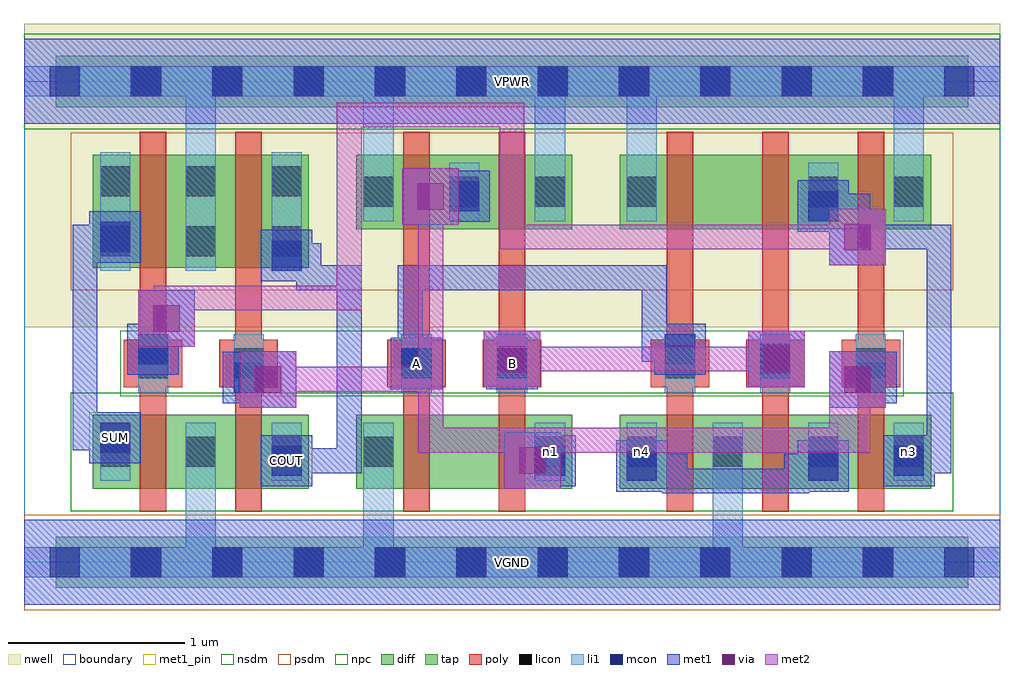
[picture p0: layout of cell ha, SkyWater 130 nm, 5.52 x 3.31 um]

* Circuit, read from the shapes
.subckt ha A B COUT SUM VGND VPWR n1 n3 n4
XM1 VGND n3 SUM VGND sky130_fd_pr__nfet_01v8 w=0.42 l=0.15
XM2 COUT n1 VGND VGND sky130_fd_pr__nfet_01v8 w=0.42 l=0.15
XM3 n2 A VGND VGND sky130_fd_pr__nfet_01v8 w=0.42 l=0.15
XM4 n1 B n2 VGND sky130_fd_pr__nfet_01v8 w=0.42 l=0.15
XM5 VGND A n4 VGND sky130_fd_pr__nfet_01v8 w=0.42 l=0.15
XM6 n4 B VGND VGND sky130_fd_pr__nfet_01v8 w=0.42 l=0.15
XM7 n3 n1 n4 VGND sky130_fd_pr__nfet_01v8 w=0.42 l=0.15
XM8 VPWR n3 SUM VPWR sky130_fd_pr__pfet_01v8 w=0.64 l=0.15
XM9 COUT n1 VPWR VPWR sky130_fd_pr__pfet_01v8 w=0.64 l=0.15
XM10 n1 A VPWR VPWR sky130_fd_pr__pfet_01v8 w=0.42 l=0.15
XM11 VPWR B n1 VPWR sky130_fd_pr__pfet_01v8 w=0.42 l=0.15
XM12 n5 A VPWR VPWR sky130_fd_pr__pfet_01v8 w=0.42 l=0.15
XM13 n3 B n5 VPWR sky130_fd_pr__pfet_01v8 w=0.42 l=0.15
XM14 VPWR n1 n3 VPWR sky130_fd_pr__pfet_01v8 w=0.42 l=0.15
.ends

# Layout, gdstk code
import gdstk
lib = gdstk.Library(unit=1e-6, precision=1e-09)
def R(c, l, rs):  # rectangles x0, y0, x1, y1
    for r in rs: c.add(gdstk.rectangle(r[:2], r[2:], *l))
def A(c, l, x, y, w, h, nx, ny, dx, dy):  # array of equal rectangles
    R(c, l, [(x+i*dx, y+j*dy, x+i*dx+w, y+j*dy+h) for i in range(nx) for j in range(ny)])
nwell = (64, 20)
diff = (65, 20)
tap = (65, 44)
poly = (66, 20)
licon = (66, 44)
li1 = (67, 20)
mcon = (67, 44)
met1_pin = (68, 16)
met1 = (68, 20)
via = (68, 44)
met2 = (69, 20)
nsdm = (93, 44)
psdm = (94, 20)
npc = (95, 20)
boundary = (235, 4)

c_ha = lib.new_cell('ha')
R(c_ha, nwell, [(0,1.33,5.52,3.045)])
R(c_ha, diff, [(0.39,0.415,1.61,0.835), (1.88,0.415,3.1,0.835), (3.37,0.415,5.13,0.835), (0.39,1.665,1.61,2.305), (1.88,1.885,3.1,2.305), (3.37,1.885,5.13,2.305)])
R(c_ha, tap, [(0.18,-0.145,5.34,0.145), (0.18,2.575,5.34,2.865)])
A(c_ha, poly, 3.635, 0.285, 0.15, 2.15, 3, 1, 0.54, 0)
A(c_ha, poly, 3.545, 0.99, 0.33, 0.27, 3, 1, 0.54, 0)
R(c_ha, poly, [(0.655,0.285,0.805,2.435), (1.195,0.285,1.345,2.435), (2.145,0.285,2.295,2.435), (2.685,0.285,2.835,2.435), (0.565,0.99,0.895,1.26), (1.105,0.99,1.435,1.26), (2.055,0.99,2.385,1.26), (2.595,0.99,2.925,1.26)])
A(c_ha, licon, 0.605, -0.085, 0.17, 0.17, 10, 2, 0.46, 2.72)
A(c_ha, licon, 0.43, 0.54, 0.17, 0.17, 3, 2, 0.485, 1.19)
A(c_ha, licon, 3.625, 1.04, 0.17, 0.17, 3, 1, 0.54, 0)
A(c_ha, licon, 1.92, 2.01, 0.17, 0.17, 3, 1, 0.485, 0)
A(c_ha, licon, 0.43, 2.07, 0.17, 0.17, 3, 1, 0.485, 0)
R(c_ha, licon, [(1.92,0.54,2.09,0.71), (2.89,0.54,3.06,0.71), (3.41,0.54,3.58,0.71), (3.895,0.54,4.065,0.71), (4.435,0.54,4.605,0.71), (4.92,0.54,5.09,0.71), (0.645,1.04,0.815,1.21), (1.185,1.04,1.355,1.21), (2.135,1.04,2.305,1.21), (2.675,1.04,2.845,1.21), (3.41,2.01,3.58,2.18), (4.435,2.01,4.605,2.18), (4.92,2.01,5.09,2.18)])
A(c_ha, li1, 0.43, 0.46, 0.17, 0.33, 3, 1, 0.485, 0)
A(c_ha, li1, 3.625, 0.96, 0.17, 0.33, 3, 1, 0.54, 0)
A(c_ha, li1, 0.43, 1.65, 0.17, 0.67, 3, 1, 0.485, 0)
A(c_ha, li1, 1.92, 1.93, 0.17, 0.33, 3, 1, 0.485, 0)
R(c_ha, li1, [(0,-0.085,5.52,0.085), (0.915,-0.085,1.085,0.79), (1.92,-0.085,2.09,0.79), (3.895,-0.085,4.065,0.79), (1.92,0.46,2.09,0.79), (2.89,0.46,3.06,0.79), (3.41,0.46,3.58,0.79), (3.895,0.46,4.065,0.79), (4.435,0.46,4.605,0.79), (4.92,0.46,5.09,0.79), (0.645,0.96,0.815,1.29), (1.185,0.96,1.355,1.29), (2.135,0.96,2.305,1.29), (2.675,0.96,2.845,1.29), (0.915,1.65,1.085,2.805), (1.92,1.93,2.09,2.805), (2.89,1.93,3.06,2.805), (3.41,1.93,3.58,2.26), (3.41,1.93,3.58,2.805), (4.435,1.93,4.605,2.26), (4.92,1.93,5.09,2.26), (4.92,1.93,5.09,2.805), (0,2.635,5.52,2.805)])
A(c_ha, mcon, 0.145, -0.085, 0.17, 0.17, 12, 2, 0.46, 2.72)
R(c_ha, mcon, [(3.41,0.46,3.58,0.63), (4.435,0.46,4.605,0.63), (1.4,0.49,1.57,0.66), (2.89,0.49,3.06,0.66), (4.92,0.49,5.09,0.66), (0.43,0.62,0.6,0.79), (1.185,0.96,1.355,1.13), (4.705,0.96,4.875,1.13), (2.135,1.04,2.305,1.21), (2.675,1.04,2.845,1.21), (4.165,1.065,4.335,1.235), (0.645,1.12,0.815,1.29), (3.625,1.12,3.795,1.29), (1.4,1.65,1.57,1.82), (0.43,1.755,0.6,1.925), (4.435,1.93,4.605,2.1), (2.405,1.985,2.575,2.155)])
R(c_ha, met1_pin, [(0,-0.24,5.52,0.24), (1.34,0.43,1.63,0.72), (0.37,0.56,0.66,0.85), (2.075,0.98,2.365,1.27), (2.615,0.98,2.905,1.27), (0,2.48,5.52,2.96)])
R(c_ha, met1, [(0,-0.24,5.52,0.24), (3.61,0.39,3.75,0.615), (3.61,0.39,4.44,0.53), (4.3,0.39,4.44,0.615), (3.35,0.4,3.64,0.69), (4.375,0.4,4.665,0.69), (2.715,0.415,3.035,0.735), (1.34,0.43,1.63,0.72), (2.83,0.43,3.12,0.72), (4.86,0.43,5.15,0.72), (3.425,0.475,3.75,0.615), (4.3,0.475,4.59,0.615), (1.415,0.505,1.68,0.645), (1.54,0.505,1.91,0.645), (1.77,0.505,1.91,1.68), (2.805,0.505,3.045,0.645), (4.935,0.505,5.245,0.645), (5.105,0.505,5.245,1.91), (0.37,0.56,0.66,0.85), (0.275,0.635,0.585,0.775), (0.275,0.635,0.415,0.875), (0.275,0.735,0.415,1.91), (1.22,0.875,1.54,1.195), (4.555,0.875,4.875,1.195), (1.125,0.9,1.415,1.19), (4.645,0.9,4.935,1.19), (1.31,0.965,1.45,1.115), (4.645,0.965,4.785,1.115), (1.2,0.975,1.45,1.115), (4.645,0.975,4.86,1.115), (2.075,0.98,2.365,1.27), (2.615,0.98,2.905,1.27), (2.6,0.99,2.92,1.31), (4.095,0.99,4.415,1.31), (4.105,1.005,4.395,1.295), (0.585,1.06,0.875,1.35), (3.565,1.06,3.855,1.35), (2.115,1.08,2.255,1.22), (2.115,1.08,2.255,1.68), (2.69,1.08,2.83,1.22), (4.18,1.08,4.325,1.22), (0.66,1.135,0.875,1.275), (0.735,1.135,0.875,1.45), (3.495,1.135,3.78,1.275), (3.495,1.135,3.635,1.45), (0.645,1.22,0.965,1.54), (3.495,1.31,3.635,1.68), (1.54,1.54,1.68,1.805), (1.54,1.54,1.91,1.68), (2.115,1.54,3.635,1.68), (1.34,1.59,1.63,1.88), (1.415,1.665,1.68,1.805), (4.555,1.68,4.875,2), (0.37,1.695,0.66,1.985), (0.275,1.77,0.585,1.91), (4.645,1.77,4.785,2.085), (4.645,1.77,5.245,1.91), (4.375,1.87,4.665,2.16), (2.14,1.91,2.46,2.23), (2.345,1.925,2.635,2.215), (4.45,1.945,4.785,2.085), (2.23,2,2.56,2.14), (0,2.48,5.52,2.96)])
R(c_ha, via, [(2.8,0.5,2.95,0.65), (1.305,0.96,1.455,1.11), (4.64,0.96,4.79,1.11), (2.685,1.075,2.835,1.225), (4.18,1.075,4.33,1.225), (0.73,1.305,0.88,1.455), (4.64,1.765,4.79,1.915), (2.225,1.995,2.375,2.145)])
R(c_ha, met2, [(2.715,0.415,3.035,0.735), (2.805,0.505,2.945,0.76), (2.23,0.62,2.945,0.76), (2.23,0.62,2.37,2.14), (2.805,0.62,4.785,0.76), (4.645,0.62,4.785,1.105), (4.555,0.76,4.785,0.875), (1.22,0.875,1.54,1.195), (4.555,0.875,4.875,1.195), (1.31,0.965,2.37,1.105), (2.6,0.99,2.92,1.31), (4.095,0.99,4.415,1.31), (2.69,1.08,4.325,1.22), (0.645,1.22,0.965,1.54), (0.735,1.31,0.875,1.565), (0.735,1.425,1.91,1.565), (1.77,1.425,1.91,2.6), (4.555,1.68,4.875,2), (2.69,1.77,4.785,1.91), (2.69,1.77,2.83,2.6), (2.14,1.91,2.46,2.23), (1.77,2.46,2.83,2.6)])
R(c_ha, nsdm, [(0.265,0.29,5.255,0.96), (0,2.45,5.52,2.99)])
R(c_ha, psdm, [(0,-0.27,5.52,0.27), (0.265,1.54,5.255,2.43)])
R(c_ha, npc, [(0.545,0.94,4.975,1.31)])
R(c_ha, boundary, [(0,0,5.52,2.72)])
c_ha.add(gdstk.Label('n1', (2.975,0.625), layer=67, texttype=5))
c_ha.add(gdstk.Label('n4', (3.495,0.625), layer=67, texttype=5))
c_ha.add(gdstk.Label('n3', (5.005,0.625), layer=67, texttype=5))
c_ha.add(gdstk.Label('A', (2.22,1.125), layer=68, texttype=5))
c_ha.add(gdstk.Label('B', (2.76,1.125), layer=68, texttype=5))
c_ha.add(gdstk.Label('SUM', (0.515,0.705), layer=68, texttype=5))
c_ha.add(gdstk.Label('COUT', (1.485,0.575), layer=68, texttype=5))
c_ha.add(gdstk.Label('VPWR', (2.76,2.72), layer=68, texttype=5))
c_ha.add(gdstk.Label('VGND', (2.76,0), layer=68, texttype=5))
c_ha.add(gdstk.Label('A', (2.22,1.125), layer=68, texttype=16))
c_ha.add(gdstk.Label('B', (2.76,1.125), layer=68, texttype=16))
c_ha.add(gdstk.Label('SUM', (0.515,0.705), layer=68, texttype=16))
c_ha.add(gdstk.Label('COUT', (1.485,0.575), layer=68, texttype=16))
c_ha.add(gdstk.Label('VPWR', (2.76,2.72), layer=68, texttype=16))
c_ha.add(gdstk.Label('VGND', (2.76,0), layer=68, texttype=16))

lib.write_gds('ha.gds')
